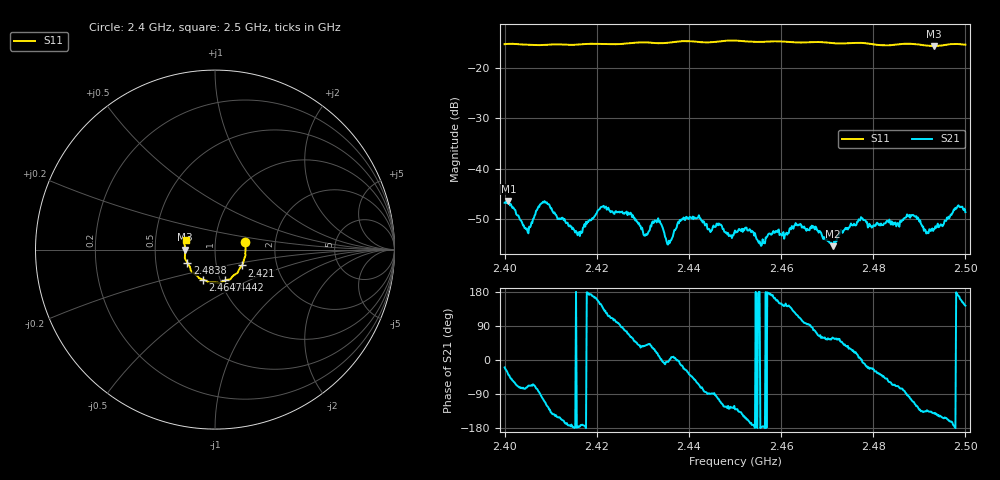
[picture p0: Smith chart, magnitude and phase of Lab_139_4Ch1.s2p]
# Hz S RI R 50
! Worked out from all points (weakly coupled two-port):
!   601 points, 2.4 GHz to 2.5 GHz, reference 50 ohm
!   highest |S21| = -46.38 dB at 2.4008 GHz (marker M1); lowest = -55.4 dB at 2.4713 GHz (marker M2)
!   lowest |S11| = -15.6 dB at 2.4932 GHz (marker M3), VSWR 1.40, Z = 35.8 - j0.0773 ohm
!   |S11| at or under -10 dB: start of sweep to end of sweep
!   S12 and S22 are empty: the file has one direction only
!   S11 on the Smith chart (normalised r, x): 2.4 GHz: 1.40, +0.12; 2.421 GHz: 1.33, -0.24; 2.4442 GHz: 1.05, -0.37; 2.4647 GHz: 0.83, -0.29; 2.4838 GHz: 0.73, -0.11; 2.5 GHz: 0.72, +0.08
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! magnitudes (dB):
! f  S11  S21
! 2.4 GHz  -15.2  -46.7
! 2.4008 GHz  -15.2  -46.4
! 2.4047 GHz  -15.4  -52.0
! 2.4087 GHz  -15.4  -46.4
! 2.4167 GHz  -15.3  -52.7
! 2.421 GHz  -15.2  -47.6
! 2.4273 GHz  -15.0  -48.7
! 2.4305 GHz  -14.9  -53.3
! 2.4333 GHz  -15.0  -49.8
! 2.4357 GHz  -14.9  -54.3
! 2.439 GHz  -14.6  -49.9
! 2.4442 GHz  -14.9  -52.0
! 2.45 GHz  -14.5  -52.2
! 2.456 GHz  -14.8  -54.0
! 2.4647 GHz  -14.9  -51.5
! 2.4667 GHz  -14.8  -51.3
! 2.4713 GHz  -15.0  -55.4
! 2.4772 GHz  -15.0  -50.2
! 2.4833 GHz  -15.5  -50.6
! 2.4838 GHz  -15.4  -51.1
! 2.4932 GHz  -15.6  -52.0
! 2.5 GHz  -15.3  -48.6
